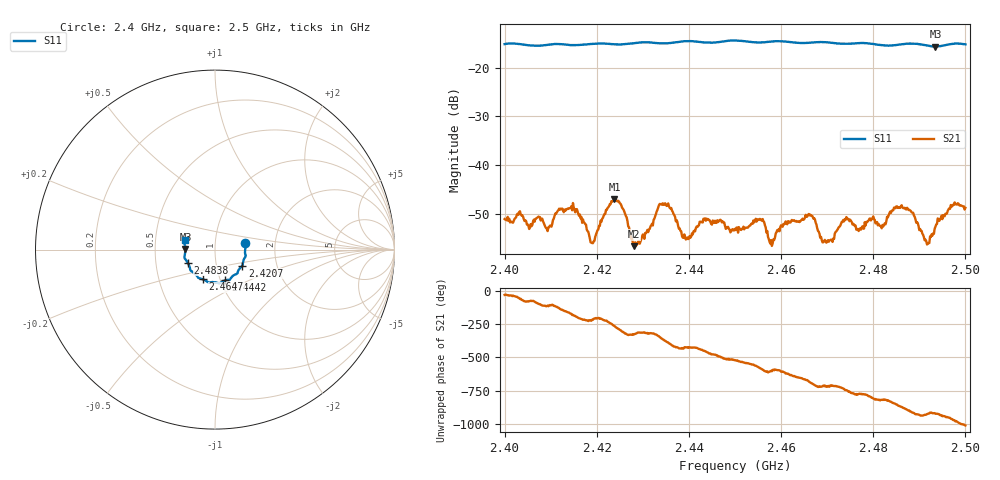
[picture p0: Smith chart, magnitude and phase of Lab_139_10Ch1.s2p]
# Hz S RI R 50
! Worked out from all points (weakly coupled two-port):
!   601 points, 2.4 GHz to 2.5 GHz, reference 50 ohm
!   highest |S21| = -46.98 dB at 2.4238 GHz (marker M1); lowest = -56.6 dB at 2.428 GHz (marker M2)
!   lowest |S11| = -15.7 dB at 2.4935 GHz (marker M3), VSWR 1.39, Z = 35.9 + j0.149 ohm
!   |S11| at or under -10 dB: start of sweep to end of sweep
!   S12 and S22 are empty: the file has one direction only
!   S11 on the Smith chart (normalised r, x): 2.4 GHz: 1.40, +0.11; 2.4207 GHz: 1.33, -0.24; 2.4442 GHz: 1.05, -0.37; 2.4647 GHz: 0.83, -0.28; 2.4838 GHz: 0.73, -0.11; 2.5 GHz: 0.71, +0.08
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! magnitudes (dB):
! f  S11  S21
! 2.4 GHz  -15.2  -51.0
! 2.4167 GHz  -15.3  -50.6
! 2.419 GHz  -15.1  -56.0
! 2.4207 GHz  -15.1  -52.4
! 2.4238 GHz  -15.2  -47.0
! 2.428 GHz  -15.0  -56.6
! 2.4333 GHz  -15.0  -48.6
! 2.4393 GHz  -14.6  -55.2
! 2.4442 GHz  -14.9  -51.0
! 2.45 GHz  -14.4  -53.0
! 2.4557 GHz  -14.8  -51.2
! 2.458 GHz  -14.6  -56.5
! 2.4647 GHz  -15.0  -51.0
! 2.4667 GHz  -14.9  -50.3
! 2.4695 GHz  -14.8  -55.3
! 2.474 GHz  -15.1  -51.2
! 2.4833 GHz  -15.5  -50.3
! 2.4838 GHz  -15.5  -49.8
! 2.4882 GHz  -15.1  -49.4
! 2.4917 GHz  -15.5  -56.2
! 2.4935 GHz  -15.7  -52.6
! 2.5 GHz  -15.2  -48.7
